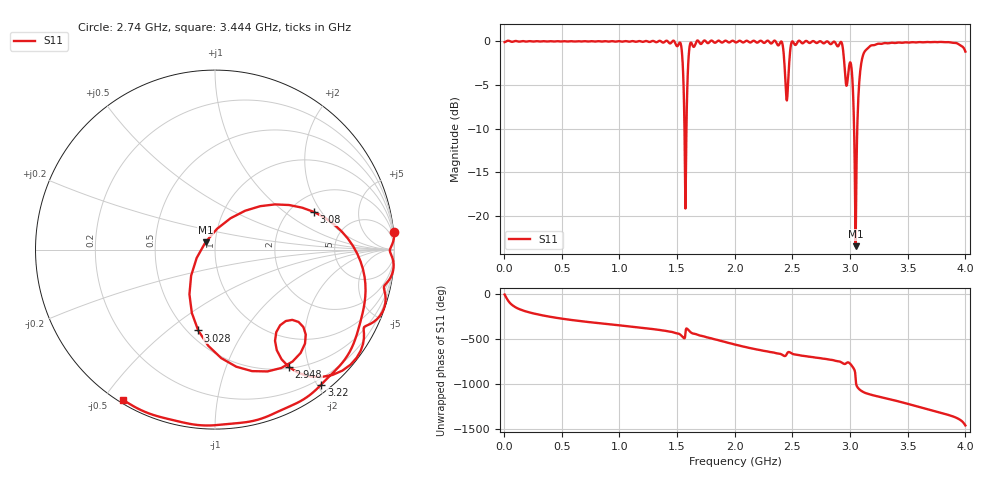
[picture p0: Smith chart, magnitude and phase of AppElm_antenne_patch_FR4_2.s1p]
! TOUCHSTONE file generated by CST MICROWAVE STUDIO
! Date and time: Tue Jun  7 21:11:30 2022
! Project name: AppElm_antenne_patch_FR4.cst
! Parameters = {L=45; W=58.5; e=0.035; h=1.6; lambda=0.190476; ls=120; w0=1.6; w1=0.533333; ws=96; y0=20; y1=23.81}
! Header version: 2018
! Port assignment regex: !\s*Touchstone port\s*([0-9]+)\s*=\s*(CST MWS port|CST DS port)\s*([0-9]+|Zmin|Zmax)\s*\(\"(.*)\"\)(\s*mode\s*([0-9]+))?.*
! Touchstone port assignment:
! Touchstone port 1 = CST MWS port 1 ("")
# GHz S MA R 50
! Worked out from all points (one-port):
!   1000 points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, 4 MHz to 4 GHz, reference 50 ohm
!   lowest |S11| = -23.5 dB at 3.048 GHz (marker M1), VSWR 1.14, Z = 44.8 + j3.73 ohm
!   |S11| at or under -10 dB: 1.564 GHz to 1.581 GHz (17.2 MHz wide, 1.09 % of centre); 3.035 GHz to 3.062 GHz (27.81 MHz wide, 0.912 % of centre)
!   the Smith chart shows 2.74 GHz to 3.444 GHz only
!   S11 on the Smith chart (normalised r, x): 2.74 GHz: -0, +21; 2.948 GHz: 0.52, -1.69; 3.028 GHz: 0.56, -0.64; 3.08 GHz: 2.66, +1.71; 3.22 GHz: 0.12, -2.06; 3.444 GHz: 0.01, -0.56
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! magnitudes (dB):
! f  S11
! 4 MHz  -0.1
! 504 MHz  0.0
! 1.004 GHz  0.0
! 1.504 GHz  -0.5
! 1.536 GHz  -0.6
! 1.56 GHz  -7.2
! 1.572 GHz  -19.2
! 1.588 GHz  -5.5
! 1.604 GHz  -1.1
! 1.624 GHz  -0.2
! 2.004 GHz  -0.1
! 2.4 GHz  0.0
! 2.452 GHz  -6.8
! 2.504 GHz  0.0
! 2.74 GHz  0.0
! 2.916 GHz  -0.1
! 2.948 GHz  -2.2
! 3.004 GHz  -2.4
! 3.016 GHz  -3.6
! 3.028 GHz  -6.7
! 3.048 GHz  -23.5
! 3.064 GHz  -9.1
! 3.08 GHz  -4.6
! 3.12 GHz  -1.3
! 3.22 GHz  -0.4
! 3.444 GHz  -0.2
! 3.504 GHz  -0.1
! 4 GHz  -1.2
